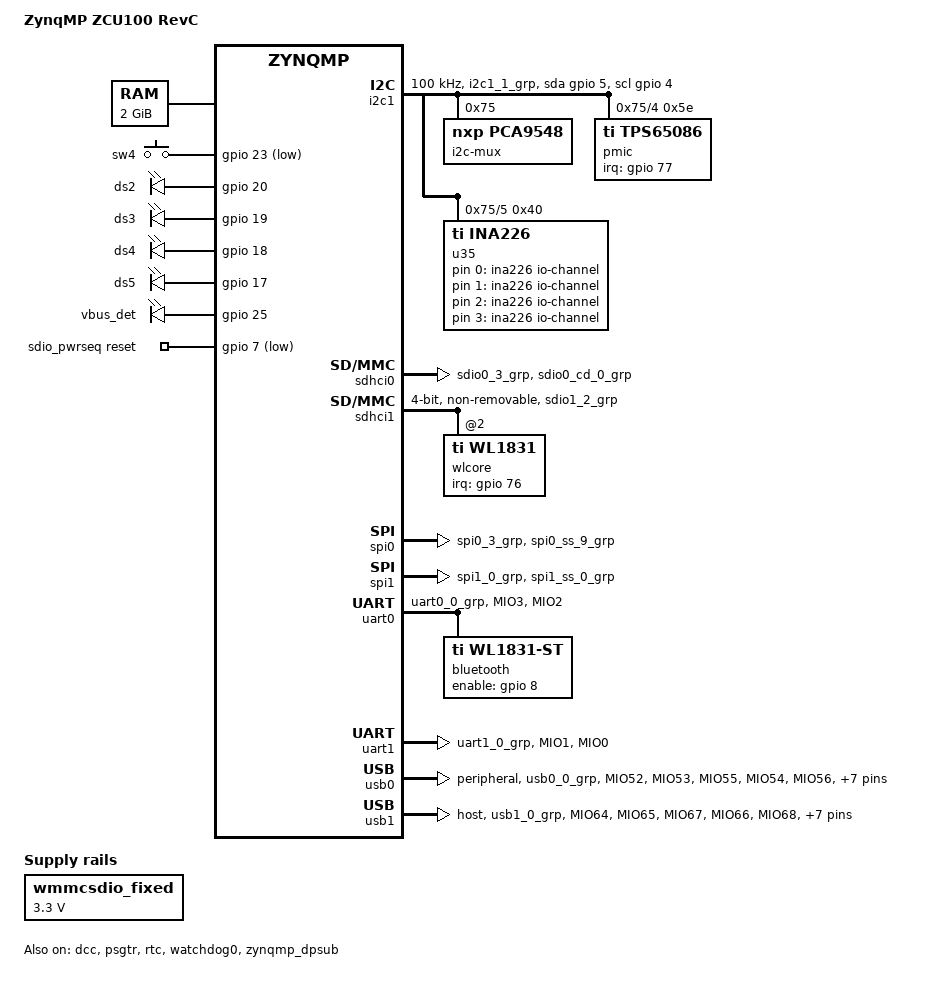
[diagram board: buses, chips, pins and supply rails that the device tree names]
// SPDX-License-Identifier: GPL-2.0+
/*
 * dts file for Xilinx ZynqMP ZCU100 revC
 *
 * (C) Copyright 2016 - 2021, Xilinx, Inc.
 *
 * Michal Simek <michal.simek@xilinx.com>
 * Nathalie Chan King Choy
 */

/dts-v1/;

#include "zynqmp.dtsi"
#include "zynqmp-clk-ccf.dtsi"
#include <dt-bindings/input/input.h>
#include <dt-bindings/interrupt-controller/irq.h>
#include <dt-bindings/gpio/gpio.h>
#include <dt-bindings/pinctrl/pinctrl-zynqmp.h>
#include <dt-bindings/phy/phy.h>

/ {
	model = "ZynqMP ZCU100 RevC";
	compatible = "xlnx,zynqmp-zcu100-revC", "xlnx,zynqmp-zcu100", "xlnx,zynqmp";

	aliases {
		i2c0 = &i2c1;
		rtc0 = &rtc;
		serial0 = &uart1;
		serial1 = &uart0;
		serial2 = &dcc;
		spi0 = &spi0;
		spi1 = &spi1;
		mmc0 = &sdhci0;
		mmc1 = &sdhci1;
	};

	chosen {
		bootargs = "earlycon";
		stdout-path = "serial0:115200n8";
	};

	memory@0 {
		device_type = "memory";
		reg = <0x0 0x0 0x0 0x80000000>;
	};

	gpio-keys {
		compatible = "gpio-keys";
		autorepeat;
		sw4 {
			label = "sw4";
			gpios = <&gpio 23 GPIO_ACTIVE_LOW>;
			linux,code = <KEY_POWER>;
			wakeup-source;
			autorepeat;
		};
	};

	leds {
		compatible = "gpio-leds";
		led-ds2 {
			label = "ds2";
			gpios = <&gpio 20 GPIO_ACTIVE_HIGH>;
			linux,default-trigger = "heartbeat";
		};

		led-ds3 {
			label = "ds3";
			gpios = <&gpio 19 GPIO_ACTIVE_HIGH>;
			linux,default-trigger = "phy0tx"; /* WLAN tx */
			default-state = "off";
		};

		led-ds4 {
			label = "ds4";
			gpios = <&gpio 18 GPIO_ACTIVE_HIGH>;
			linux,default-trigger = "phy0rx"; /* WLAN rx */
			default-state = "off";
		};

		led-ds5 {
			label = "ds5";
			gpios = <&gpio 17 GPIO_ACTIVE_HIGH>;
			linux,default-trigger = "bluetooth-power";
		};

		vbus-det { /* U5 USB5744 VBUS detection via MIO25 */
			label = "vbus_det";
			gpios = <&gpio 25 GPIO_ACTIVE_HIGH>;
			default-state = "on";
		};
	};

	wmmcsdio_fixed: fixedregulator-mmcsdio {
		compatible = "regulator-fixed";
		regulator-name = "wmmcsdio_fixed";
		regulator-min-microvolt = <3300000>;
		regulator-max-microvolt = <3300000>;
		regulator-always-on;
		regulator-boot-on;
	};

	sdio_pwrseq: sdio-pwrseq {
		compatible = "mmc-pwrseq-simple";
		reset-gpios = <&gpio 7 GPIO_ACTIVE_LOW>; /* WIFI_EN */
		post-power-on-delay-ms = <10>;
	};

	ina226 {
		compatible = "iio-hwmon";
		io-channels = <&u35 0>, <&u35 1>, <&u35 2>, <&u35 3>;
	};

	si5335_0: si5335_0 { /* clk0_usb - u23 */
		compatible = "fixed-clock";
		#clock-cells = <0>;
		clock-frequency = <26000000>;
	};

	si5335_1: si5335_1 { /* clk1_dp - u23 */
		compatible = "fixed-clock";
		#clock-cells = <0>;
		clock-frequency = <27000000>;
	};
};

&dcc {
	status = "okay";
};

&gpio {
	status = "okay";
	gpio-line-names = "UART1_TX", "UART1_RX", "UART0_RX", "UART0_TX", "I2C1_SCL",
			  "I2C1_SDA", "SPI1_SCLK", "WLAN_EN", "BT_EN", "SPI1_CS",
			  "SPI1_MISO", "SPI1_MOSI", "I2C_MUX_RESET", "SD0_DAT0", "SD0_DAT1",
			  "SD0_DAT2", "SD0_DAT3", "PS_LED3", "PS_LED2", "PS_LED1",
			  "PS_LED0", "SD0_CMD", "SD0_CLK", "GPIO_PB", "SD0_DETECT",
			  "VBUS_DET", "POWER_INT", "DP_AUX", "DP_HPD", "DP_OE",
			  "DP_AUX_IN", "INA226_ALERT", "PS_FP_PWR_EN", "PL_PWR_EN", "POWER_KILL",
			  "", "GPIO-A", "GPIO-B", "SPI0_SCLK", "GPIO-C",
			  "GPIO-D", "SPI0_CS", "SPI0_MISO", "SPI_MOSI", "GPIO-E",
			  "GPIO-F", "SD1_D0", "SD1_D1", "SD1_D2", "SD1_D3",
			  "SD1_CMD", "SD1_CLK", "USB0_CLK", "USB0_DIR", "USB0_DATA2",
			  "USB0_NXT", "USB0_DATA0", "USB0_DATA1", "USB0_STP", "USB0_DATA3",
			  "USB0_DATA4", "USB0_DATA5", "USB0_DATA6", "USB0_DATA7", "USB1_CLK",
			  "USB1_DIR", "USB1_DATA2", "USB1_NXT", "USB1_DATA0", "USB1_DATA1",
			  "USB1_STP", "USB1_DATA3", "USB1_DATA4", "USB1_DATA5", "USB1_DATA6",
			  "USB_DATA7", "WLAN_IRQ", "PMIC_IRQ", /* MIO end and EMIO start */
			  "", "",
			  "", "", "", "", "", "", "", "", "", "",
			  "", "", "", "", "", "", "", "", "", "",
			  "", "", "", "", "", "", "", "", "", "",
			  "", "", "", "", "", "", "", "", "", "",
			  "", "", "", "", "", "", "", "", "", "",
			  "", "", "", "", "", "", "", "", "", "",
			  "", "", "", "", "", "", "", "", "", "",
			  "", "", "", "", "", "", "", "", "", "",
			  "", "", "", "", "", "", "", "", "", "",
			  "", "", "", "";
};

&i2c1 {
	status = "okay";
	pinctrl-names = "default", "gpio";
	pinctrl-0 = <&pinctrl_i2c1_default>;
	pinctrl-1 = <&pinctrl_i2c1_gpio>;
	scl-gpios = <&gpio 4 GPIO_ACTIVE_HIGH>;
	sda-gpios = <&gpio 5 GPIO_ACTIVE_HIGH>;
	clock-frequency = <100000>;
	i2c-mux@75 { /* u11 */
		compatible = "nxp,pca9548";
		#address-cells = <1>;
		#size-cells = <0>;
		reg = <0x75>;
		i2csw_0: i2c@0 {
			#address-cells = <1>;
			#size-cells = <0>;
			reg = <0>;
			label = "LS-I2C0";
		};
		i2csw_1: i2c@1 {
			#address-cells = <1>;
			#size-cells = <0>;
			reg = <1>;
			label = "LS-I2C1";
		};
		i2csw_2: i2c@2 {
			#address-cells = <1>;
			#size-cells = <0>;
			reg = <2>;
			label = "HS-I2C2";
		};
		i2csw_3: i2c@3 {
			#address-cells = <1>;
			#size-cells = <0>;
			reg = <3>;
			label = "HS-I2C3";
		};
		i2csw_4: i2c@4 {
			#address-cells = <1>;
			#size-cells = <0>;
			reg = <0x4>;

			pmic: pmic@5e { /* Custom TI PMIC u33 */
				compatible = "ti,tps65086";
				reg = <0x5e>;
				interrupt-parent = <&gpio>;
				interrupts = <77 IRQ_TYPE_LEVEL_LOW>;
				#gpio-cells = <2>;
				gpio-controller;
			};
		};
		i2csw_5: i2c@5 {
			#address-cells = <1>;
			#size-cells = <0>;
			reg = <5>;
			/* PS_PMBUS */
			u35: ina226@40 { /* u35 */
				compatible = "ti,ina226";
				#io-channel-cells = <1>;
				reg = <0x40>;
				shunt-resistor = <10000>;
				/* MIO31 is alert which should be routed to PMUFW */
			};
		};
		i2csw_6: i2c@6 {
			#address-cells = <1>;
			#size-cells = <0>;
			reg = <6>;
			/*
			 * Not Connected
			 */
		};
		i2csw_7: i2c@7 {
			#address-cells = <1>;
			#size-cells = <0>;
			reg = <7>;
			/*
			 * usb5744 (DNP) - U5
			 * 100kHz - this is default freq for us
			 */
		};
	};
};

&pinctrl0 {
	status = "okay";
	pinctrl_i2c1_default: i2c1-default {
		mux {
			groups = "i2c1_1_grp";
			function = "i2c1";
		};

		conf {
			groups = "i2c1_1_grp";
			bias-pull-up;
			slew-rate = <SLEW_RATE_SLOW>;
			power-source = <IO_STANDARD_LVCMOS18>;
		};
	};

	pinctrl_i2c1_gpio: i2c1-gpio {
		mux {
			groups = "gpio0_4_grp", "gpio0_5_grp";
			function = "gpio0";
		};

		conf {
			groups = "gpio0_4_grp", "gpio0_5_grp";
			slew-rate = <SLEW_RATE_SLOW>;
			power-source = <IO_STANDARD_LVCMOS18>;
		};
	};

	pinctrl_sdhci0_default: sdhci0-default {
		mux {
			groups = "sdio0_3_grp";
			function = "sdio0";
		};

		conf {
			groups = "sdio0_3_grp";
			slew-rate = <SLEW_RATE_SLOW>;
			power-source = <IO_STANDARD_LVCMOS18>;
			bias-disable;
		};

		mux-cd {
			groups = "sdio0_cd_0_grp";
			function = "sdio0_cd";
		};

		conf-cd {
			groups = "sdio0_cd_0_grp";
			bias-high-impedance;
			bias-pull-up;
			slew-rate = <SLEW_RATE_SLOW>;
			power-source = <IO_STANDARD_LVCMOS18>;
		};
	};

	pinctrl_sdhci1_default: sdhci1-default {
		mux {
			groups = "sdio1_2_grp";
			function = "sdio1";
		};

		conf {
			groups = "sdio1_2_grp";
			slew-rate = <SLEW_RATE_SLOW>;
			power-source = <IO_STANDARD_LVCMOS18>;
			bias-disable;
		};
	};

	pinctrl_spi0_default: spi0-default {
		mux {
			groups = "spi0_3_grp";
			function = "spi0";
		};

		conf {
			groups = "spi0_3_grp";
			bias-disable;
			slew-rate = <SLEW_RATE_SLOW>;
			power-source = <IO_STANDARD_LVCMOS18>;
		};

		mux-cs {
			groups = "spi0_ss_9_grp";
			function = "spi0_ss";
		};

		conf-cs {
			groups = "spi0_ss_9_grp";
			bias-disable;
		};

	};

	pinctrl_spi1_default: spi1-default {
		mux {
			groups = "spi1_0_grp";
			function = "spi1";
		};

		conf {
			groups = "spi1_0_grp";
			bias-disable;
			slew-rate = <SLEW_RATE_SLOW>;
			power-source = <IO_STANDARD_LVCMOS18>;
		};

		mux-cs {
			groups = "spi1_ss_0_grp";
			function = "spi1_ss";
		};

		conf-cs {
			groups = "spi1_ss_0_grp";
			bias-disable;
		};

	};

	pinctrl_uart0_default: uart0-default {
		mux {
			groups = "uart0_0_grp";
			function = "uart0";
		};

		conf {
			groups = "uart0_0_grp";
			slew-rate = <SLEW_RATE_SLOW>;
			power-source = <IO_STANDARD_LVCMOS18>;
		};

		conf-rx {
			pins = "MIO3";
			bias-high-impedance;
		};

		conf-tx {
			pins = "MIO2";
			bias-disable;
		};
	};

	pinctrl_uart1_default: uart1-default {
		mux {
			groups = "uart1_0_grp";
			function = "uart1";
		};

		conf {
			groups = "uart1_0_grp";
			slew-rate = <SLEW_RATE_SLOW>;
			power-source = <IO_STANDARD_LVCMOS18>;
		};

		conf-rx {
			pins = "MIO1";
			bias-high-impedance;
		};

		conf-tx {
			pins = "MIO0";
			bias-disable;
		};
	};

	pinctrl_usb0_default: usb0-default {
		mux {
			groups = "usb0_0_grp";
			function = "usb0";
		};

		conf {
			groups = "usb0_0_grp";
			slew-rate = <SLEW_RATE_SLOW>;
			power-source = <IO_STANDARD_LVCMOS18>;
		};

		conf-rx {
			pins = "MIO52", "MIO53", "MIO55";
			bias-high-impedance;
		};

		conf-tx {
			pins = "MIO54", "MIO56", "MIO57", "MIO58", "MIO59",
			       "MIO60", "MIO61", "MIO62", "MIO63";
			bias-disable;
		};
	};

	pinctrl_usb1_default: usb1-default {
		mux {
			groups = "usb1_0_grp";
			function = "usb1";
		};

		conf {
			groups = "usb1_0_grp";
			slew-rate = <SLEW_RATE_SLOW>;
			power-source = <IO_STANDARD_LVCMOS18>;
		};

		conf-rx {
			pins = "MIO64", "MIO65", "MIO67";
			bias-high-impedance;
		};

		conf-tx {
			pins = "MIO66", "MIO68", "MIO69", "MIO70", "MIO71",
			       "MIO72", "MIO73", "MIO74", "MIO75";
			bias-disable;
		};
	};
};

&psgtr {
	status = "okay";
	/* usb3, dp */
	clocks = <&si5335_0>, <&si5335_1>;
	clock-names = "ref0", "ref1";
};

&rtc {
	status = "okay";
};

/* SD0 only supports 3.3V, no level shifter */
&sdhci0 {
	status = "okay";
	no-1-8-v;
	disable-wp;
	pinctrl-names = "default";
	pinctrl-0 = <&pinctrl_sdhci0_default>;
	xlnx,mio-bank = <0>;
};

&sdhci1 {
	status = "okay";
	bus-width = <0x4>;
	pinctrl-names = "default";
	pinctrl-0 = <&pinctrl_sdhci1_default>;
	xlnx,mio-bank = <0>;
	non-removable;
	disable-wp;
	cap-power-off-card;
	mmc-pwrseq = <&sdio_pwrseq>;
	vqmmc-supply = <&wmmcsdio_fixed>;
	#address-cells = <1>;
	#size-cells = <0>;
	wlcore: wifi@2 {
		compatible = "ti,wl1831";
		reg = <2>;
		interrupt-parent = <&gpio>;
		interrupts = <76 IRQ_TYPE_EDGE_RISING>; /* MIO76 WLAN_IRQ 1V8 */
	};
};

&spi0 { /* Low Speed connector */
	status = "okay";
	label = "LS-SPI0";
	num-cs = <1>;
	pinctrl-names = "default";
	pinctrl-0 = <&pinctrl_spi0_default>;
};

&spi1 { /* High Speed connector */
	status = "okay";
	label = "HS-SPI1";
	num-cs = <1>;
	pinctrl-names = "default";
	pinctrl-0 = <&pinctrl_spi1_default>;
};

&uart0 {
	status = "okay";
	pinctrl-names = "default";
	pinctrl-0 = <&pinctrl_uart0_default>;
	bluetooth {
		compatible = "ti,wl1831-st";
		enable-gpios = <&gpio 8 GPIO_ACTIVE_HIGH>;
	};
};

&uart1 {
	status = "okay";
	pinctrl-names = "default";
	pinctrl-0 = <&pinctrl_uart1_default>;
};

/* ULPI SMSC USB3320 */
&usb0 {
	status = "okay";
	pinctrl-names = "default";
	pinctrl-0 = <&pinctrl_usb0_default>;
	dr_mode = "peripheral";
};

/* ULPI SMSC USB3320 */
&usb1 {
	status = "okay";
	pinctrl-names = "default";
	pinctrl-0 = <&pinctrl_usb1_default>;
	dr_mode = "host";
};

&watchdog0 {
	status = "okay";
};

&zynqmp_dpdma {
	status = "okay";
};

&zynqmp_dpsub {
	status = "okay";
	phy-names = "dp-phy0", "dp-phy1";
	phys = <&psgtr 1 PHY_TYPE_DP 0 1>,
	       <&psgtr 0 PHY_TYPE_DP 1 1>;
};
